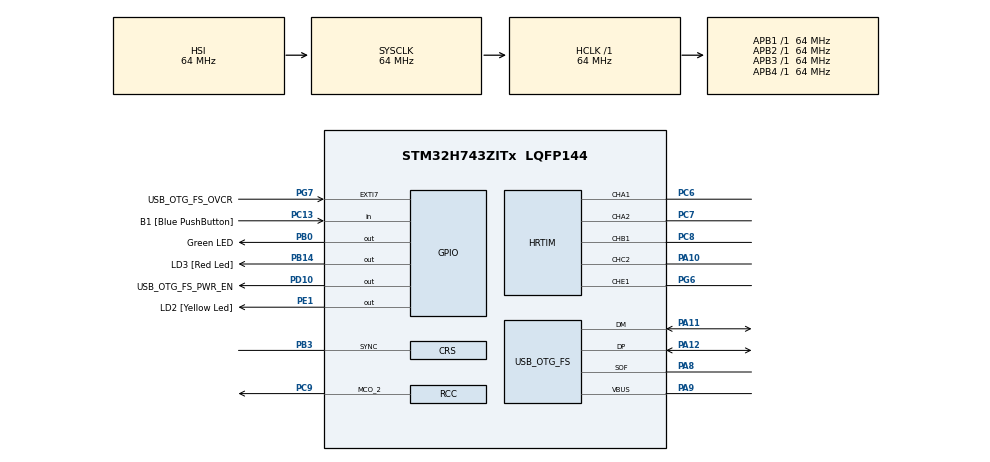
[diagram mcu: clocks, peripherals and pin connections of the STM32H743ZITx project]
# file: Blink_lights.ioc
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Mcu.Family=STM32H7
Mcu.Name=STM32H743ZITx
Mcu.Package=LQFP144
NVIC.PriorityGroup=NVIC_PRIORITYGROUP_4
PA1.Signal=ETH_REF_CLK
PA10.Mode=Output_TC2
PA10.Signal=HRTIM_CHC2
PA11.Mode=Device_Only
PA11.Signal=USB_OTG_FS_DM
PA12.Mode=Device_Only
PA12.Signal=USB_OTG_FS_DP
PA2.Signal=ETH_MDIO
PA7.Signal=ETH_CRS_DV
PA8.Mode=Activate_SOF_FS
PA8.Signal=USB_OTG_FS_SOF
PA9.Mode=Activate_VBUS
PA9.Signal=USB_OTG_FS_VBUS
PB0.GPIO_Label=Green LED
PB0.PinState=GPIO_PIN_SET
PB0.Signal=GPIO_Output
PB13.Signal=ETH_TXD1
PB14.GPIO_Label=LD3 [Red Led]
PB14.PinState=GPIO_PIN_SET
PB14.Signal=GPIO_Output
PB3\ (JTDO/TRACESWO).Mode=CRS SYNC Source GPIO
PB3\ (JTDO/TRACESWO).Signal=CRS_SYNC
PC1.Signal=ETH_MDC
PC13.GPIO_Label=B1 [Blue PushButton]
PC13.Signal=GPIO_Input
PC14-OSC32_IN\ (OSC32_IN).Mode=LSE-External-Oscillator
PC14-OSC32_IN\ (OSC32_IN).Signal=RCC_OSC32_IN
PC15-OSC32_OUT\ (OSC32_OUT).Mode=LSE-External-Oscillator
PC15-OSC32_OUT\ (OSC32_OUT).Signal=RCC_OSC32_OUT
PC4.Signal=ETH_RXD0
PC5.Signal=ETH_RXD1
PC6.Mode=Output_TA1TA2
PC6.Signal=HRTIM_CHA1
PC7.Mode=Output_TA1TA2
PC7.Signal=HRTIM_CHA2
PC8.Mode=Output_TB1
PC8.Signal=HRTIM_CHB1
PC9.Mode=Clock-out-2
PC9.Signal=RCC_MCO_2
PD10.GPIO_Label=USB_OTG_FS_PWR_EN
PD10.Signal=GPIO_Output
PD9.GPIO_Label=STLINK_TX
PD9.Signal=USART3_RX
PE1.GPIO_Label=LD2 [Yellow Led]
PE1.PinState=GPIO_PIN_SET
PE1.Signal=GPIO_Output
PG6.Mode=Output_TE1
PG6.Signal=HRTIM_CHE1
PG7.GPIO_Label=USB_OTG_FS_OVCR
PG7.Signal=GPXTI7
PH0-OSC_IN\ (PH0).Mode=HSE-External-Oscillator
PH0-OSC_IN\ (PH0).Signal=RCC_OSC_IN
PH1-OSC_OUT\ (PH1).Mode=HSE-External-Oscillator
PH1-OSC_OUT\ (PH1).Signal=RCC_OSC_OUT
ProjectManager.HeapSize=0x200
ProjectManager.StackSize=0x400
ProjectManager.TargetToolchain=STM32CubeIDE
RCC.ADCFreq_Value=16125000
RCC.APB1Freq_Value=64000000
RCC.APB2Freq_Value=64000000
RCC.APB3Freq_Value=64000000
RCC.APB4Freq_Value=64000000
RCC.CortexFreq_Value=64000000
RCC.DIVM1=1
RCC.DIVN1=24
RCC.DIVQ1=4
RCC.HCLKFreq_Value=64000000
RCC.HSE_VALUE=8000000
RCC.PLLFRACN=0
RCC.SYSCLKFreq_VALUE=64000000
RCC.USBFreq_Value=48000000
TIM16.Prescaler=8000 - 1
USB_OTG_FS.VirtualMode=Device_Only
VP_HRTIM_VS_hrtimMasterTimerNoOutput.Mode=MasterTimer
VP_HRTIM_VS_hrtimTimerDNoOutput.Mode=No_output_TD
VP_TIM16_VS_ClockSourceINT.Mode=Enable_Timer
board=NUCLEO-H743ZI2

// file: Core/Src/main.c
/* USER CODE BEGIN Header */
/**
  ******************************************************************************
  * @file           : main.c
  * @brief          : Main program body
  ******************************************************************************
  * @attention
  *
  * Copyright (c) 2022 STMicroelectronics.
  * All rights reserved.
  *
  * This software is licensed under terms that can be found in the LICENSE file
  * in the root directory of this software component.
  * If no LICENSE file comes with this software, it is provided AS-IS.
  *
  ******************************************************************************
  */
/* USER CODE END Header */
#include "main.h"

HRTIM_HandleTypeDef hhrtim;

TIM_HandleTypeDef htim16;

PCD_HandleTypeDef hpcd_USB_OTG_FS;

void SystemClock_Config(void);
static void MX_GPIO_Init(void);
static void MX_USB_OTG_FS_PCD_Init(void);
static void MX_HRTIM_Init(void);
static void MX_TIM16_Init(void);

int main(void)
{
  /* USER CODE BEGIN 1 */

	uinit16_t timer_val;

  /* USER CODE END 1 */

  /* MCU Configuration--------------------------------------------------------*/

  /* Reset of all peripherals, Initializes the Flash interface and the Systick. */
  HAL_Init();

  /* Configure the system clock */
  SystemClock_Config();

  /* Initialize all configured peripherals */
  MX_GPIO_Init();
  MX_USB_OTG_FS_PCD_Init();
  MX_HRTIM_Init();
  MX_TIM16_Init();
  /* USER CODE BEGIN 2 */
  	  HAL_TIM_Base_Start(&htim16);
  	  timer_val = __HAL_TIM_GET_COUNTER(&htim16);
  /* USER CODE END 2 */

  /* Infinite loop */
  /* USER CODE BEGIN WHILE */

  int B1_count = 1; //Number of times B1 had been pressed
  int x = 1;

  while(x == 1)	{
//  static unsigned short pin_state = 0;

	  if(B1_count == 1){

	 	  //Turn LED1 ON
	 	  //HAL_GPIO_WritePin(GPIOA, LD1_Pin, GPIO_PIN_SET);

	 	  //Turn LED3 OFF
	 	  HAL_GPIO_WritePin(LD3_Pin, GPIO_PIN_RESET);

	 	  //Toggle LD1
	 	  while(B1_count == 1)	{
	 		  if ((__HAL_TIM_GET_COUNTER(&htim16) - timer_val) >= 5000){
	 			  HAL_GPIO_TogglePin (LD1_Pin);
	 			  timer_val = __HAL_TIM_GET_COUNTER(&htim16);
	 		  }
	 		  if(HAL_GPIO_ReadPin (B1_Pin)){
	 			  B1_count = 2;
	 			  break; //Redundancy
	 		  }
	 	  }
  	  }

	  if(B1_count == 2){
		  //Turn LED2 ON
 	  	  //HAL_GPIO_WritePin(GPIOE, LD2_Pin, GPIO_PIN_SET);

 	  	  //Turn LED1 OFF
 	  	  HAL_GPIO_WritePin(LD1_Pin, GPIO_PIN_RESET);

	 	  //Toggle LD2
	 	  while(B1_count == 2)	{
	 		  if ((__HAL_TIM_GET_COUNTER(&htim16) - timer_val) >= 2500){
	 			  HAL_GPIO_TogglePin (LD2_Pin);
	 			  timer_val = __HAL_TIM_GET_COUNTER(&htim16);
	 		  }
	 		  if(HAL_GPIO_ReadPin (B1_Pin)){
	 			  B1_count = 3;
	 			  break; //Redundancy
	 		  }
	 	  }

	  }
	  if(B1_count == 3){
		  //Turn LED3 ON
 	  	  //HAL_GPIO_WritePin(GPIOB, LD3_Pin, GPIO_PIN_SET);

 	  	  //Turn LED2 OFF
 	  	  HAL_GPIO_WritePin(LD2_Pin, GPIO_PIN_RESET);

	 	  //Toggle LD3
	 	  while(B1_count == 3)	{
	 		  if ((__HAL_TIM_GET_COUNTER(&htim16) - timer_val) >= 1250){
	 			  HAL_GPIO_TogglePin (LD3_Pin);
	 			  timer_val = __HAL_TIM_GET_COUNTER(&htim16);
	 		  }
	 		  if(HAL_GPIO_ReadPin (B1_Pin)){
	 			  B1_count = 1;
	 			  break; //Redundancy
	 		  }
	 	  }
	  }
  }
    /* USER CODE END WHILE */

  }
}

void SystemClock_Config(void)
{
  RCC_OscInitTypeDef RCC_OscInitStruct = {0};
  RCC_ClkInitTypeDef RCC_ClkInitStruct = {0};
  RCC_CRSInitTypeDef RCC_CRSInitStruct = {0};

  /** Supply configuration update enable
  */
  HAL_PWREx_ConfigSupply(PWR_LDO_SUPPLY);

  /** Configure the main internal regulator output voltage
  */
  __HAL_PWR_VOLTAGESCALING_CONFIG(PWR_REGULATOR_VOLTAGE_SCALE3);

  while(!__HAL_PWR_GET_FLAG(PWR_FLAG_VOSRDY)) {}

  /** Initializes the RCC Oscillators according to the specified parameters
  * in the RCC_OscInitTypeDef structure.
  */
  RCC_OscInitStruct.OscillatorType = RCC_OSCILLATORTYPE_HSI48|RCC_OSCILLATORTYPE_HSI
                              |RCC_OSCILLATORTYPE_HSE;
  RCC_OscInitStruct.HSEState = RCC_HSE_ON;
  RCC_OscInitStruct.HSIState = RCC_HSI_DIV1;
  RCC_OscInitStruct.HSICalibrationValue = RCC_HSICALIBRATION_DEFAULT;
  RCC_OscInitStruct.HSI48State = RCC_HSI48_ON;
  RCC_OscInitStruct.PLL.PLLState = RCC_PLL_ON;
  RCC_OscInitStruct.PLL.PLLSource = RCC_PLLSOURCE_HSE;
  RCC_OscInitStruct.PLL.PLLM = 1;
  RCC_OscInitStruct.PLL.PLLN = 24;
  RCC_OscInitStruct.PLL.PLLP = 2;
  RCC_OscInitStruct.PLL.PLLQ = 4;
  RCC_OscInitStruct.PLL.PLLR = 2;
  RCC_OscInitStruct.PLL.PLLRGE = RCC_PLL1VCIRANGE_3;
  RCC_OscInitStruct.PLL.PLLVCOSEL = RCC_PLL1VCOWIDE;
  RCC_OscInitStruct.PLL.PLLFRACN = 0;
  if (HAL_RCC_OscConfig(&RCC_OscInitStruct) != HAL_OK)
  {
    Error_Handler();
  }

  /** Initializes the CPU, AHB and APB buses clocks
  */
  RCC_ClkInitStruct.ClockType = RCC_CLOCKTYPE_HCLK|RCC_CLOCKTYPE_SYSCLK
                              |RCC_CLOCKTYPE_PCLK1|RCC_CLOCKTYPE_PCLK2
                              |RCC_CLOCKTYPE_D3PCLK1|RCC_CLOCKTYPE_D1PCLK1;
  RCC_ClkInitStruct.SYSCLKSource = RCC_SYSCLKSOURCE_HSI;
  RCC_ClkInitStruct.SYSCLKDivider = RCC_SYSCLK_DIV1;
  RCC_ClkInitStruct.AHBCLKDivider = RCC_HCLK_DIV1;
  RCC_ClkInitStruct.APB3CLKDivider = RCC_APB3_DIV1;
  RCC_ClkInitStruct.APB1CLKDivider = RCC_APB1_DIV1;
  RCC_ClkInitStruct.APB2CLKDivider = RCC_APB2_DIV1;
  RCC_ClkInitStruct.APB4CLKDivider = RCC_APB4_DIV1;

  if (HAL_RCC_ClockConfig(&RCC_ClkInitStruct, FLASH_LATENCY_1) != HAL_OK)
  {
    Error_Handler();
  }
  HAL_RCC_MCOConfig(RCC_MCO2, RCC_MCO2SOURCE_SYSCLK, RCC_MCODIV_1);

  /** Enable the SYSCFG APB clock
  */
  __HAL_RCC_CRS_CLK_ENABLE();

  /** Configures CRS
  */
  RCC_CRSInitStruct.Prescaler = RCC_CRS_SYNC_DIV1;
  RCC_CRSInitStruct.Source = RCC_CRS_SYNC_SOURCE_PIN;
  RCC_CRSInitStruct.Polarity = RCC_CRS_SYNC_POLARITY_RISING;
  RCC_CRSInitStruct.ReloadValue = __HAL_RCC_CRS_RELOADVALUE_CALCULATE(48000000,1);
  RCC_CRSInitStruct.ErrorLimitValue = 34;
  RCC_CRSInitStruct.HSI48CalibrationValue = 32;

  HAL_RCCEx_CRSConfig(&RCC_CRSInitStruct);
}

static void MX_HRTIM_Init(void)
{

  HRTIM_TimeBaseCfgTypeDef pTimeBaseCfg = {0};
  HRTIM_TimerCfgTypeDef pTimerCfg = {0};
  HRTIM_OutputCfgTypeDef pOutputCfg = {0};

  hhrtim.Instance = HRTIM1;
  hhrtim.Init.HRTIMInterruptResquests = HRTIM_IT_NONE;
  hhrtim.Init.SyncOptions = HRTIM_SYNCOPTION_NONE;
  if (HAL_HRTIM_Init(&hhrtim) != HAL_OK)
  {
    Error_Handler();
  }
  pTimeBaseCfg.Period = 0xFFFD;
  pTimeBaseCfg.RepetitionCounter = 0x00;
  pTimeBaseCfg.PrescalerRatio = HRTIM_PRESCALERRATIO_DIV1;
  pTimeBaseCfg.Mode = HRTIM_MODE_CONTINUOUS;
  if (HAL_HRTIM_TimeBaseConfig(&hhrtim, HRTIM_TIMERINDEX_MASTER, &pTimeBaseCfg) != HAL_OK)
  {
    Error_Handler();
  }
  pTimerCfg.InterruptRequests = HRTIM_MASTER_IT_NONE;
  pTimerCfg.DMARequests = HRTIM_MASTER_DMA_NONE;
  pTimerCfg.DMASrcAddress = 0x0000;
  pTimerCfg.DMADstAddress = 0x0000;
  pTimerCfg.DMASize = 0x1;
  pTimerCfg.HalfModeEnable = HRTIM_HALFMODE_DISABLED;
  pTimerCfg.StartOnSync = HRTIM_SYNCSTART_DISABLED;
  pTimerCfg.ResetOnSync = HRTIM_SYNCRESET_DISABLED;
  pTimerCfg.DACSynchro = HRTIM_DACSYNC_NONE;
  pTimerCfg.PreloadEnable = HRTIM_PRELOAD_DISABLED;
  pTimerCfg.UpdateGating = HRTIM_UPDATEGATING_INDEPENDENT;
  pTimerCfg.BurstMode = HRTIM_TIMERBURSTMODE_MAINTAINCLOCK;
  pTimerCfg.RepetitionUpdate = HRTIM_UPDATEONREPETITION_DISABLED;
  if (HAL_HRTIM_WaveformTimerConfig(&hhrtim, HRTIM_TIMERINDEX_MASTER, &pTimerCfg) != HAL_OK)
  {
    Error_Handler();
  }
  if (HAL_HRTIM_TimeBaseConfig(&hhrtim, HRTIM_TIMERINDEX_TIMER_A, &pTimeBaseCfg) != HAL_OK)
  {
    Error_Handler();
  }
  pTimerCfg.InterruptRequests = HRTIM_TIM_IT_NONE;
  pTimerCfg.DMARequests = HRTIM_TIM_DMA_NONE;
  pTimerCfg.PushPull = HRTIM_TIMPUSHPULLMODE_DISABLED;
  pTimerCfg.FaultEnable = HRTIM_TIMFAULTENABLE_NONE;
  pTimerCfg.FaultLock = HRTIM_TIMFAULTLOCK_READWRITE;
  pTimerCfg.DeadTimeInsertion = HRTIM_TIMDEADTIMEINSERTION_DISABLED;
  pTimerCfg.DelayedProtectionMode = HRTIM_TIMER_A_B_C_DELAYEDPROTECTION_DISABLED;
  pTimerCfg.UpdateTrigger = HRTIM_TIMUPDATETRIGGER_NONE;
  pTimerCfg.ResetTrigger = HRTIM_TIMRESETTRIGGER_NONE;
  pTimerCfg.ResetUpdate = HRTIM_TIMUPDATEONRESET_DISABLED;
  if (HAL_HRTIM_WaveformTimerConfig(&hhrtim, HRTIM_TIMERINDEX_TIMER_A, &pTimerCfg) != HAL_OK)
  {
    Error_Handler();
  }
  if (HAL_HRTIM_WaveformTimerConfig(&hhrtim, HRTIM_TIMERINDEX_TIMER_B, &pTimerCfg) != HAL_OK)
  {
    Error_Handler();
  }
  if (HAL_HRTIM_WaveformTimerConfig(&hhrtim, HRTIM_TIMERINDEX_TIMER_C, &pTimerCfg) != HAL_OK)
  {
    Error_Handler();
  }
  pTimerCfg.DelayedProtectionMode = HRTIM_TIMER_D_E_DELAYEDPROTECTION_DISABLED;
  if (HAL_HRTIM_WaveformTimerConfig(&hhrtim, HRTIM_TIMERINDEX_TIMER_D, &pTimerCfg) != HAL_OK)
  {
    Error_Handler();
  }
  if (HAL_HRTIM_WaveformTimerConfig(&hhrtim, HRTIM_TIMERINDEX_TIMER_E, &pTimerCfg) != HAL_OK)
  {
    Error_Handler();
  }
  pOutputCfg.Polarity = HRTIM_OUTPUTPOLARITY_HIGH;
  pOutputCfg.SetSource = HRTIM_OUTPUTSET_NONE;
  pOutputCfg.ResetSource = HRTIM_OUTPUTRESET_NONE;
  pOutputCfg.IdleMode = HRTIM_OUTPUTIDLEMODE_NONE;
  pOutputCfg.IdleLevel = HRTIM_OUTPUTIDLELEVEL_INACTIVE;
  pOutputCfg.FaultLevel = HRTIM_OUTPUTFAULTLEVEL_NONE;
  pOutputCfg.ChopperModeEnable = HRTIM_OUTPUTCHOPPERMODE_DISABLED;
  pOutputCfg.BurstModeEntryDelayed = HRTIM_OUTPUTBURSTMODEENTRY_REGULAR;
  if (HAL_HRTIM_WaveformOutputConfig(&hhrtim, HRTIM_TIMERINDEX_TIMER_A, HRTIM_OUTPUT_TA1, &pOutputCfg) != HAL_OK)
  {
    Error_Handler();
  }
  if (HAL_HRTIM_WaveformOutputConfig(&hhrtim, HRTIM_TIMERINDEX_TIMER_B, HRTIM_OUTPUT_TB1, &pOutputCfg) != HAL_OK)
  {
    Error_Handler();
  }
  if (HAL_HRTIM_WaveformOutputConfig(&hhrtim, HRTIM_TIMERINDEX_TIMER_E, HRTIM_OUTPUT_TE1, &pOutputCfg) != HAL_OK)
  {
    Error_Handler();
  }
  if (HAL_HRTIM_WaveformOutputConfig(&hhrtim, HRTIM_TIMERINDEX_TIMER_A, HRTIM_OUTPUT_TA2, &pOutputCfg) != HAL_OK)
  {
    Error_Handler();
  }
  if (HAL_HRTIM_WaveformOutputConfig(&hhrtim, HRTIM_TIMERINDEX_TIMER_C, HRTIM_OUTPUT_TC2, &pOutputCfg) != HAL_OK)
  {
    Error_Handler();
  }
  if (HAL_HRTIM_TimeBaseConfig(&hhrtim, HRTIM_TIMERINDEX_TIMER_B, &pTimeBaseCfg) != HAL_OK)
  {
    Error_Handler();
  }
  if (HAL_HRTIM_TimeBaseConfig(&hhrtim, HRTIM_TIMERINDEX_TIMER_C, &pTimeBaseCfg) != HAL_OK)
  {
    Error_Handler();
  }
  if (HAL_HRTIM_TimeBaseConfig(&hhrtim, HRTIM_TIMERINDEX_TIMER_D, &pTimeBaseCfg) != HAL_OK)
  {
    Error_Handler();
  }
  if (HAL_HRTIM_TimeBaseConfig(&hhrtim, HRTIM_TIMERINDEX_TIMER_E, &pTimeBaseCfg) != HAL_OK)
  {
    Error_Handler();
  }
  HAL_HRTIM_MspPostInit(&hhrtim);

}

static void MX_TIM16_Init(void)
{

  htim16.Instance = TIM16;
  htim16.Init.Prescaler = 8000 - 1;
  htim16.Init.CounterMode = TIM_COUNTERMODE_UP;
  htim16.Init.Period = 65535;
  htim16.Init.ClockDivision = TIM_CLOCKDIVISION_DIV1;
  htim16.Init.RepetitionCounter = 0;
  htim16.Init.AutoReloadPreload = TIM_AUTORELOAD_PRELOAD_DISABLE;
  if (HAL_TIM_Base_Init(&htim16) != HAL_OK)
  {
    Error_Handler();
  }

}

static void MX_USB_OTG_FS_PCD_Init(void)
{

  hpcd_USB_OTG_FS.Instance = USB_OTG_FS;
  hpcd_USB_OTG_FS.Init.dev_endpoints = 9;
  hpcd_USB_OTG_FS.Init.speed = PCD_SPEED_FULL;
  hpcd_USB_OTG_FS.Init.dma_enable = DISABLE;
  hpcd_USB_OTG_FS.Init.phy_itface = PCD_PHY_EMBEDDED;
  hpcd_USB_OTG_FS.Init.Sof_enable = ENABLE;
  hpcd_USB_OTG_FS.Init.low_power_enable = DISABLE;
  hpcd_USB_OTG_FS.Init.lpm_enable = DISABLE;
  hpcd_USB_OTG_FS.Init.battery_charging_enable = ENABLE;
  hpcd_USB_OTG_FS.Init.vbus_sensing_enable = ENABLE;
  hpcd_USB_OTG_FS.Init.use_dedicated_ep1 = DISABLE;
  if (HAL_PCD_Init(&hpcd_USB_OTG_FS) != HAL_OK)
  {
    Error_Handler();
  }

}

static void MX_GPIO_Init(void)
{
  GPIO_InitTypeDef GPIO_InitStruct = {0};

  /* GPIO Ports Clock Enable */
  __HAL_RCC_GPIOC_CLK_ENABLE();
  __HAL_RCC_GPIOH_CLK_ENABLE();
  __HAL_RCC_GPIOA_CLK_ENABLE();
  __HAL_RCC_GPIOB_CLK_ENABLE();
  __HAL_RCC_GPIOD_CLK_ENABLE();
  __HAL_RCC_GPIOG_CLK_ENABLE();
  __HAL_RCC_GPIOE_CLK_ENABLE();

  /*Configure GPIO pin Output Level */
  HAL_GPIO_WritePin(GPIOB, Green_LED_Pin|LD3_Pin, GPIO_PIN_SET);

  /*Configure GPIO pin Output Level */
  HAL_GPIO_WritePin(USB_OTG_FS_PWR_EN_GPIO_Port, USB_OTG_FS_PWR_EN_Pin, GPIO_PIN_RESET);

  /*Configure GPIO pin Output Level */
  HAL_GPIO_WritePin(LD2_GPIO_Port, LD2_Pin, GPIO_PIN_SET);

  /*Configure GPIO pin : B1_Pin */
  GPIO_InitStruct.Pin = B1_Pin;
  GPIO_InitStruct.Mode = GPIO_MODE_INPUT;
  GPIO_InitStruct.Pull = GPIO_NOPULL;
  HAL_GPIO_Init(B1_GPIO_Port, &GPIO_InitStruct);

  /*Configure GPIO pins : PC1 PC4 PC5 */
  GPIO_InitStruct.Pin = GPIO_PIN_1|GPIO_PIN_4|GPIO_PIN_5;
  GPIO_InitStruct.Mode = GPIO_MODE_AF_PP;
  GPIO_InitStruct.Pull = GPIO_NOPULL;
  GPIO_InitStruct.Speed = GPIO_SPEED_FREQ_LOW;
  GPIO_InitStruct.Alternate = GPIO_AF11_ETH;
  HAL_GPIO_Init(GPIOC, &GPIO_InitStruct);

  /*Configure GPIO pins : PA1 PA2 PA7 */
  GPIO_InitStruct.Pin = GPIO_PIN_1|GPIO_PIN_2|GPIO_PIN_7;
  GPIO_InitStruct.Mode = GPIO_MODE_AF_PP;
  GPIO_InitStruct.Pull = GPIO_NOPULL;
  GPIO_InitStruct.Speed = GPIO_SPEED_FREQ_LOW;
  GPIO_InitStruct.Alternate = GPIO_AF11_ETH;
  HAL_GPIO_Init(GPIOA, &GPIO_InitStruct);

  /*Configure GPIO pins : Green_LED_Pin LD3_Pin */
  GPIO_InitStruct.Pin = Green_LED_Pin|LD3_Pin;
  GPIO_InitStruct.Mode = GPIO_MODE_OUTPUT_PP;
  GPIO_InitStruct.Pull = GPIO_NOPULL;
  GPIO_InitStruct.Speed = GPIO_SPEED_FREQ_LOW;
  HAL_GPIO_Init(GPIOB, &GPIO_InitStruct);

  /*Configure GPIO pin : PB13 */
  GPIO_InitStruct.Pin = GPIO_PIN_13;
  GPIO_InitStruct.Mode = GPIO_MODE_AF_PP;
  GPIO_InitStruct.Pull = GPIO_NOPULL;
  GPIO_InitStruct.Speed = GPIO_SPEED_FREQ_LOW;
  GPIO_InitStruct.Alternate = GPIO_AF11_ETH;
  HAL_GPIO_Init(GPIOB, &GPIO_InitStruct);

  /*Configure GPIO pin : STLINK_TX_Pin */
  GPIO_InitStruct.Pin = STLINK_TX_Pin;
  GPIO_InitStruct.Mode = GPIO_MODE_AF_PP;
  GPIO_InitStruct.Pull = GPIO_NOPULL;
  GPIO_InitStruct.Speed = GPIO_SPEED_FREQ_LOW;
  GPIO_InitStruct.Alternate = GPIO_AF7_USART3;
  HAL_GPIO_Init(STLINK_TX_GPIO_Port, &GPIO_InitStruct);

  /*Configure GPIO pin : USB_OTG_FS_PWR_EN_Pin */
  GPIO_InitStruct.Pin = USB_OTG_FS_PWR_EN_Pin;
  GPIO_InitStruct.Mode = GPIO_MODE_OUTPUT_PP;
  GPIO_InitStruct.Pull = GPIO_NOPULL;
  GPIO_InitStruct.Speed = GPIO_SPEED_FREQ_LOW;
  HAL_GPIO_Init(USB_OTG_FS_PWR_EN_GPIO_Port, &GPIO_InitStruct);

  /*Configure GPIO pin : USB_OTG_FS_OVCR_Pin */
  GPIO_InitStruct.Pin = USB_OTG_FS_OVCR_Pin;
  GPIO_InitStruct.Mode = GPIO_MODE_IT_RISING;
  GPIO_InitStruct.Pull = GPIO_NOPULL;
  HAL_GPIO_Init(USB_OTG_FS_OVCR_GPIO_Port, &GPIO_InitStruct);

  /*Configure GPIO pin : PC9 */
  GPIO_InitStruct.Pin = GPIO_PIN_9;
  GPIO_InitStruct.Mode = GPIO_MODE_AF_PP;
  GPIO_InitStruct.Pull = GPIO_NOPULL;
  GPIO_InitStruct.Speed = GPIO_SPEED_FREQ_LOW;
  GPIO_InitStruct.Alternate = GPIO_AF0_MCO;
  HAL_GPIO_Init(GPIOC, &GPIO_InitStruct);

  /*Configure GPIO pin : PB3 */
  GPIO_InitStruct.Pin = GPIO_PIN_3;
  GPIO_InitStruct.Mode = GPIO_MODE_AF_PP;
  GPIO_InitStruct.Pull = GPIO_NOPULL;
  GPIO_InitStruct.Speed = GPIO_SPEED_FREQ_LOW;
  GPIO_InitStruct.Alternate = GPIO_AF10_CRS_SYNC;
  HAL_GPIO_Init(GPIOB, &GPIO_InitStruct);

  /*Configure GPIO pin : LD2_Pin */
  GPIO_InitStruct.Pin = LD2_Pin;
  GPIO_InitStruct.Mode = GPIO_MODE_OUTPUT_PP;
  GPIO_InitStruct.Pull = GPIO_NOPULL;
  GPIO_InitStruct.Speed = GPIO_SPEED_FREQ_LOW;
  HAL_GPIO_Init(LD2_GPIO_Port, &GPIO_InitStruct);

}

void Error_Handler(void)
{
  __disable_irq();
  while (1)
  {
  }
}
